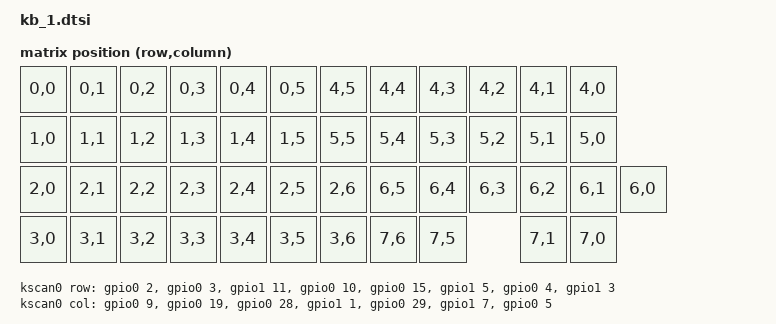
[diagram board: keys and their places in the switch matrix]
#include <zephyr/dt-bindings/gpio/nordic-nrf-gpio.h>
#include <dt-bindings/zmk/matrix_transform.h>
#include "kb_1_layouts.dtsi"

/ {
    chosen {
        zmk,physical-layout = &kb_1_layout;
        zmk,kscan = &kscan0;
    };

    kb_1_transform: keymap_transform {
        compatible = "zmk,matrix-transform";
        columns = <7>;
        rows = <8>;
        map = <
            RC(0,0) RC(0,1) RC(0,2) RC(0,3) RC(0,4) RC(0,5)         RC(4,5) RC(4,4) RC(4,3) RC(4,2) RC(4,1) RC(4,0)
            RC(1,0) RC(1,1) RC(1,2) RC(1,3) RC(1,4) RC(1,5)         RC(5,5) RC(5,4) RC(5,3) RC(5,2) RC(5,1) RC(5,0)
            RC(2,0) RC(2,1) RC(2,2) RC(2,3) RC(2,4) RC(2,5) RC(2,6)         RC(6,5) RC(6,4) RC(6,3) RC(6,2) RC(6,1) RC(6,0)
            RC(3,0) RC(3,1) RC(3,2) RC(3,3) RC(3,4) RC(3,5) RC(3,6) RC(7,6) RC(7,5)                   RC(7,1) RC(7,0)
        >;
    };

    kscan0: kscan {
        compatible = "zmk,kscan-gpio-matrix";

        col-gpios
            = <&gpio0 9  (GPIO_ACTIVE_HIGH | GPIO_PULL_DOWN)>
            , <&gpio0 19 (GPIO_ACTIVE_HIGH | GPIO_PULL_DOWN)>
            , <&gpio0 28 (GPIO_ACTIVE_HIGH | GPIO_PULL_DOWN)>
            , <&gpio1 1  (GPIO_ACTIVE_HIGH | GPIO_PULL_DOWN)>
            , <&gpio0 29 (GPIO_ACTIVE_HIGH | GPIO_PULL_DOWN)>
            , <&gpio1 7  (GPIO_ACTIVE_HIGH | GPIO_PULL_DOWN)>
            , <&gpio0 5  (GPIO_ACTIVE_HIGH | GPIO_PULL_DOWN)>
            ;

        row-gpios
            = <&gpio0 2  GPIO_ACTIVE_HIGH> /* LROW0: D0 */
            , <&gpio0 3  GPIO_ACTIVE_HIGH> /* LROW1: D1 */
            , <&gpio1 11 GPIO_ACTIVE_HIGH> /* LROW2: D6 */
            , <&gpio0 10 GPIO_ACTIVE_HIGH> /* LROW3: D15 */
            , <&gpio0 15 GPIO_ACTIVE_HIGH> /* RROW0: D11 */
            , <&gpio1 5  GPIO_ACTIVE_HIGH> /* RROW1: D18 */
            , <&gpio0 4  GPIO_ACTIVE_HIGH> /* RROW2: D4 */
            , <&gpio1 3  GPIO_ACTIVE_HIGH> /* RROW3: D17 */
            ;

        wakeup-source;
    };

    pointing_listener: pointing_listener {
        compatible = "zmk,input-listener";
        status = "disabled";
    };
};

/* D14/P0.09 (COL0) and D15/P0.10 (LROW3) must operate as GPIO, not NFC. */
&uicr {
    nfct-pins-as-gpios;
};

/* The XIAO defaults overlap matrix and trackball pins. */
&uart0 {
    status = "disabled";
};

&i2c1 {
    status = "disabled";
};

&pinctrl {
    kb_1_spi2_default: kb_1_spi2_default {
        group1 {
            psels = <NRF_PSEL(SPIM_SCK, 1, 13)>,
                    <NRF_PSEL(SPIM_MOSI, 1, 15)>,
                    <NRF_PSEL(SPIM_MISO, 1, 15)>;
        };
    };

    kb_1_spi2_sleep: kb_1_spi2_sleep {
        group1 {
            psels = <NRF_PSEL(SPIM_SCK, 1, 13)>,
                    <NRF_PSEL(SPIM_MOSI, 1, 15)>,
                    <NRF_PSEL(SPIM_MISO, 1, 15)>;
            low-power-enable;
        };
    };
};

&kb_1_layout {
    kscan = <&kscan0>;
    transform = <&kb_1_transform>;
};
